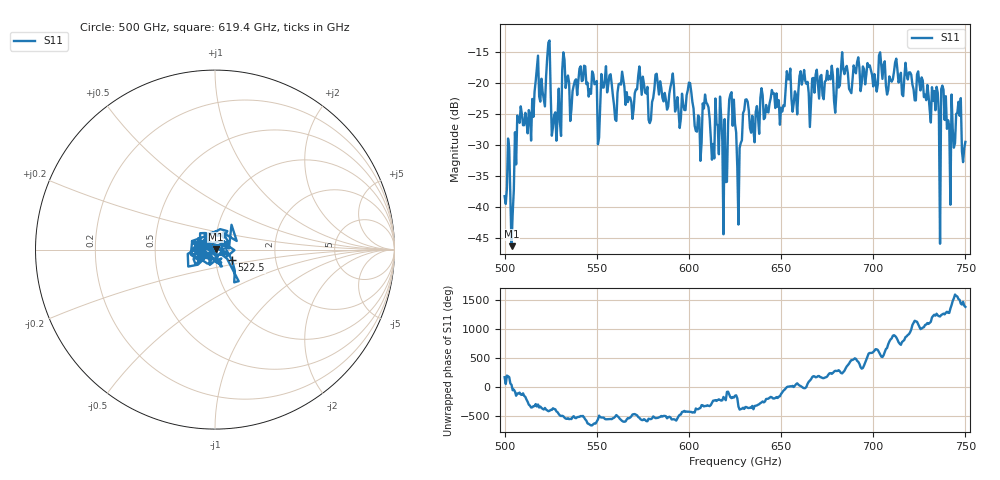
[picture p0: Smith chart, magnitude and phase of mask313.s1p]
!Created with skrf (http://scikit-rf.org).
# GHz S MA R 50.0
!freq magS11 angS11
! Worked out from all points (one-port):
!   401 points, 500 GHz to 750 GHz, reference 50 ohm
!   lowest |S11| = -46.2 dB at 503.8 GHz (marker M1), VSWR 1.01, Z = 50.4 + j0.303 ohm
!   |S11| at or under -10 dB: start of sweep to end of sweep
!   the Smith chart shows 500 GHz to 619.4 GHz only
!   S11 on the Smith chart (normalised r, x): 500 GHz: 0.98, +0.00; 522.5 GHz: 1.20, -0.14; 619.4 GHz: 0.91, +0.04
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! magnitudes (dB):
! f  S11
! 500 GHz  -38.2
! 503.8 GHz  -46.2
! 508.1 GHz  -26.4
! 522.5 GHz  -19.0
! 523.8 GHz  -13.5
! 526.9 GHz  -25.2
! 531.2 GHz  -17.9
! 562.5 GHz  -20.1
! 593.8 GHz  -22.3
! 600 GHz  -19.9
! 605.6 GHz  -25.5
! 609.4 GHz  -23.1
! 612.5 GHz  -32.3
! 616.9 GHz  -22.2
! 619.4 GHz  -25.8
! 623.1 GHz  -21.5
! 625 GHz  -26.5
! 627.5 GHz  -30.5
! 630.6 GHz  -22.7
! 656.2 GHz  -24.6
! 687.5 GHz  -21.3
! 718.8 GHz  -19.4
! 733.8 GHz  -24.4
! 735 GHz  -21.6
! 738.1 GHz  -21.1
! 743.1 GHz  -27.4
! 746.2 GHz  -23.0
! 750 GHz  -29.5
